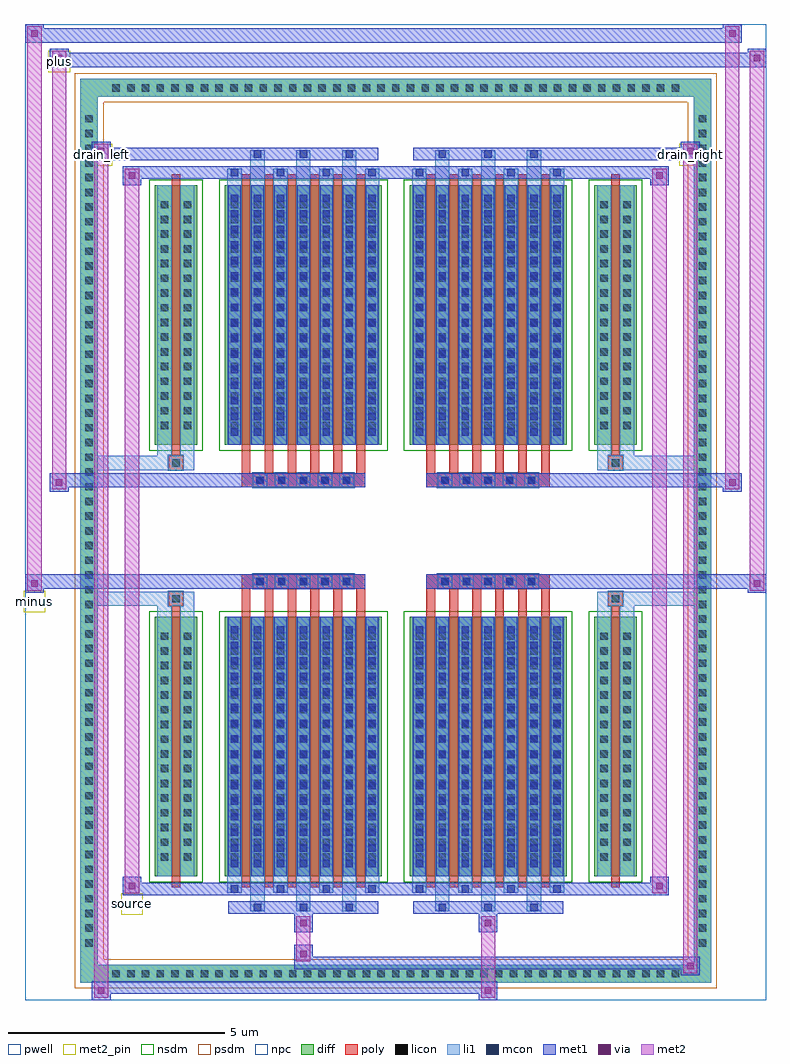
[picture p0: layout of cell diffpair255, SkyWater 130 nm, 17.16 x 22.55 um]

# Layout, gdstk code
import gdstk
lib = gdstk.Library(unit=1e-6, precision=5e-09)
def R(c, l, rs):  # rectangles x0, y0, x1, y1
    for r in rs: c.add(gdstk.rectangle(r[:2], r[2:], *l))
def A(c, l, x, y, w, h, nx, ny, dx, dy):  # array of equal rectangles
    R(c, l, [(x+i*dx, y+j*dy, x+i*dx+w, y+j*dy+h) for i in range(nx) for j in range(ny)])
def P(c, l, *ps):  # polygons
    for p in ps: c.add(gdstk.Polygon(p, *l))
pwell = (64, 44)
diff = (65, 20)
poly = (66, 20)
licon = (66, 44)
li1 = (67, 20)
mcon = (67, 44)
met1 = (68, 20)
via = (68, 44)
met2_pin = (69, 16)
met2 = (69, 20)
nsdm = (93, 44)
psdm = (94, 20)
npc = (95, 20)

diffpair255 = lib.new_cell('diffpair255')
R(diffpair255, pwell, [(-8.56,-10.84,8.56,11.71), (-5.88,-9.03,-0.01,-0.805), (0.01,-9.03,5.88,-0.805), (-5.88,0.805,-0.01,9.03), (0.01,0.805,5.88,9.03)])
A(diffpair255, diff, -6.665, -10.44, 0.41, 0.41, 39, 2, 0.34, 20.47)
A(diffpair255, diff, -7.29, -9.725, 0.41, 0.41, 1, 57, 0, 0.34)
A(diffpair255, diff, 6.88, -9.725, 0.41, 0.41, 1, 57, 0, 0.34)
R(diffpair255, diff, [(-6.665,-10.44,6.665,-10.03), (-7.29,-9.725,-6.88,9.725), (6.88,-9.725,7.29,9.725), (-5.57,-7.985,-4.59,-1.985), (-3.95,-7.985,-0.32,-1.985), (0.32,-7.985,3.95,-1.985), (4.59,-7.985,5.57,-1.985), (-5.57,1.985,-4.59,7.985), (-3.95,1.985,-0.32,7.985), (0.32,1.985,3.95,7.985), (4.59,1.985,5.57,7.985), (-6.665,10.03,6.665,10.44)])
P(diffpair255, diff, [(7.29,10.44),(-7.29,10.44),(-7.29,-10.03),(-6.88,-10.03),(-6.88,10.03),(6.88,10.03),(6.88,-10.03),(-6.88,-10.03),(-7.29,-10.03),(-7.29,-10.44),(7.29,-10.44)])
A(diffpair255, poly, -3.56, -8.235, 0.2, 6.5, 6, 2, 0.53, 9.97)
A(diffpair255, poly, 0.71, -8.235, 0.2, 6.5, 6, 2, 0.53, 9.97)
A(diffpair255, poly, -3.56, -1.735, 0.2, 0.4, 6, 2, 0.53, 3.07)
A(diffpair255, poly, 0.71, -1.735, 0.2, 0.4, 6, 2, 0.53, 3.07)
A(diffpair255, poly, -3.3, -1.335, 0.33, 0.33, 5, 2, 0.5, 2.34)
A(diffpair255, poly, 0.97, -1.335, 0.33, 0.33, 5, 2, 0.5, 2.34)
R(diffpair255, poly, [(-5.18,-8.235,-4.98,-1.735), (4.98,-8.235,5.18,-1.735), (-5.245,-1.735,-4.915,-1.405), (-5.245,-1.735,-4.915,-1.405), (4.915,-1.735,5.245,-1.405), (4.915,-1.735,5.245,-1.405), (-3.56,-1.335,-0.71,-1.005), (0.71,-1.335,3.56,-1.005), (-3.56,1.005,-0.71,1.335), (0.71,1.005,3.56,1.335), (-5.245,1.405,-4.915,1.735), (-5.245,1.405,-4.915,1.735), (4.915,1.405,5.245,1.735), (4.915,1.405,5.245,1.735), (-5.18,1.735,-4.98,8.235), (4.98,1.735,5.18,8.235)])
A(diffpair255, licon, -6.545, -10.32, 0.17, 0.17, 39, 2, 0.34, 20.47)
A(diffpair255, licon, -7.17, -9.605, 0.17, 0.17, 1, 57, 0, 0.34)
A(diffpair255, licon, 7, -9.605, 0.17, 0.17, 1, 57, 0, 0.34)
A(diffpair255, licon, -5.43, -7.62, 0.17, 0.17, 1, 16, 0, 0.34)
A(diffpair255, licon, -4.9, -7.62, 0.17, 0.17, 1, 16, 0, 0.34)
A(diffpair255, licon, -3.81, -7.62, 0.17, 0.17, 7, 16, 0.53, 0.34)
A(diffpair255, licon, 0.46, -7.62, 0.17, 0.17, 7, 16, 0.53, 0.34)
A(diffpair255, licon, 4.73, -7.62, 0.17, 0.17, 1, 16, 0, 0.34)
A(diffpair255, licon, 5.26, -7.62, 0.17, 0.17, 1, 16, 0, 0.34)
A(diffpair255, licon, -3.22, -1.255, 0.17, 0.17, 5, 2, 0.5, 2.34)
A(diffpair255, licon, 1.05, -1.255, 0.17, 0.17, 5, 2, 0.5, 2.34)
A(diffpair255, licon, -5.43, 2.35, 0.17, 0.17, 1, 16, 0, 0.34)
A(diffpair255, licon, -4.9, 2.35, 0.17, 0.17, 1, 16, 0, 0.34)
A(diffpair255, licon, -3.81, 2.35, 0.17, 0.17, 7, 16, 0.53, 0.34)
A(diffpair255, licon, 0.46, 2.35, 0.17, 0.17, 7, 16, 0.53, 0.34)
A(diffpair255, licon, 4.73, 2.35, 0.17, 0.17, 1, 16, 0, 0.34)
A(diffpair255, licon, 5.26, 2.35, 0.17, 0.17, 1, 16, 0, 0.34)
R(diffpair255, licon, [(-5.165,-1.655,-4.995,-1.485), (4.995,-1.655,5.165,-1.485), (-5.165,1.485,-4.995,1.655), (4.995,1.485,5.165,1.655)])
A(diffpair255, li1, -6.625, -10.4, 0.33, 0.33, 39, 2, 0.34, 20.47)
A(diffpair255, li1, -7.25, -9.685, 0.33, 0.33, 1, 57, 0, 0.34)
A(diffpair255, li1, 6.92, -9.685, 0.33, 0.33, 1, 57, 0, 0.34)
A(diffpair255, li1, -3.36, -8.79, 0.33, 0.805, 3, 2, 1.06, 16.775)
A(diffpair255, li1, -3.28, -8.79, 0.17, 0.17, 3, 2, 1.06, 17.41)
A(diffpair255, li1, 0.91, -8.79, 0.33, 0.805, 3, 2, 1.06, 16.775)
A(diffpair255, li1, 0.99, -8.79, 0.17, 0.17, 3, 2, 1.06, 17.41)
A(diffpair255, li1, -3.89, -8.36, 0.33, 0.375, 4, 2, 1.06, 16.345)
A(diffpair255, li1, -3.81, -8.36, 0.17, 0.17, 4, 2, 1.06, 16.55)
A(diffpair255, li1, 0.38, -8.36, 0.33, 0.375, 4, 2, 1.06, 16.345)
A(diffpair255, li1, 0.46, -8.36, 0.17, 0.17, 4, 2, 1.06, 16.55)
A(diffpair255, li1, -3.89, -7.985, 0.33, 6, 7, 2, 0.53, 9.97)
A(diffpair255, li1, 0.38, -7.985, 0.33, 6, 7, 2, 0.53, 9.97)
A(diffpair255, li1, -3.81, -7.77, 0.17, 0.17, 7, 16, 0.53, 0.36)
A(diffpair255, li1, -3.81, -7.77, 0.17, 5.57, 7, 2, 0.53, 9.97)
A(diffpair255, li1, 0.46, -7.77, 0.17, 0.17, 7, 16, 0.53, 0.36)
A(diffpair255, li1, 0.46, -7.77, 0.17, 5.57, 7, 2, 0.53, 9.97)
A(diffpair255, li1, -5.51, -7.7, 0.33, 0.33, 1, 16, 0, 0.34)
A(diffpair255, li1, -4.98, -7.7, 0.33, 0.33, 1, 16, 0, 0.34)
A(diffpair255, li1, -3.89, -7.7, 0.33, 0.33, 7, 16, 0.53, 0.34)
A(diffpair255, li1, 0.38, -7.7, 0.33, 0.33, 7, 16, 0.53, 0.34)
A(diffpair255, li1, 4.65, -7.7, 0.33, 0.33, 1, 16, 0, 0.34)
A(diffpair255, li1, 5.18, -7.7, 0.33, 0.33, 1, 16, 0, 0.34)
A(diffpair255, li1, -3.3, -1.335, 0.33, 0.33, 5, 2, 0.5, 2.34)
A(diffpair255, li1, 0.97, -1.335, 0.33, 0.33, 5, 2, 0.5, 2.34)
A(diffpair255, li1, -3.81, 2.2, 0.17, 0.17, 7, 16, 0.53, 0.36)
A(diffpair255, li1, 0.46, 2.2, 0.17, 0.17, 7, 16, 0.53, 0.36)
A(diffpair255, li1, -5.51, 2.27, 0.33, 0.33, 1, 16, 0, 0.34)
A(diffpair255, li1, -4.98, 2.27, 0.33, 0.33, 1, 16, 0, 0.34)
A(diffpair255, li1, -3.89, 2.27, 0.33, 0.33, 7, 16, 0.53, 0.34)
A(diffpair255, li1, 0.38, 2.27, 0.33, 0.33, 7, 16, 0.53, 0.34)
A(diffpair255, li1, 4.65, 2.27, 0.33, 0.33, 1, 16, 0, 0.34)
A(diffpair255, li1, 5.18, 2.27, 0.33, 0.33, 1, 16, 0, 0.34)
R(diffpair255, li1, [(-7.29,-10.44,-6.88,-10.03), (-7.29,-10.44,-6.88,-10.03), (-6.88,-10.44,6.88,-10.03), (6.88,-10.44,7.29,-10.03), (6.88,-10.44,7.29,-10.03), (-7.29,-10.03,-6.88,10.03), (6.88,-10.03,7.29,10.03), (-5.51,-7.985,-5.18,-1.985), (-4.98,-7.985,-4.65,-1.985), (4.65,-7.985,4.98,-1.985), (5.18,-7.985,5.51,-1.985), (-5.51,-1.985,-5.18,-1.405), (-4.98,-1.985,-4.65,-1.405), (4.65,-1.985,4.98,-1.405), (5.18,-1.985,5.51,-1.405), (-7.29,-1.735,-5.245,-1.405), (-5.51,-1.735,-5.245,-1.405), (-5.245,-1.735,-4.915,-1.405), (-4.915,-1.735,-4.65,-1.405), (4.65,-1.735,4.915,-1.405), (4.915,-1.735,5.245,-1.405), (4.915,-1.735,7.29,-1.405), (5.245,-1.735,5.51,-1.405), (-7.29,1.405,-5.245,1.735), (-5.51,1.405,-5.245,1.735), (-5.51,1.405,-5.18,1.985), (-5.245,1.405,-4.915,1.735), (-4.98,1.405,-4.65,1.985), (-4.915,1.405,-4.65,1.735), (4.65,1.405,4.915,1.735), (4.65,1.405,4.98,1.985), (4.915,1.405,5.245,1.735), (4.915,1.405,7.29,1.735), (5.18,1.405,5.51,1.985), (5.245,1.405,5.51,1.735), (-5.51,1.985,-5.18,7.985), (-4.98,1.985,-4.65,7.985), (4.65,1.985,4.98,7.985), (5.18,1.985,5.51,7.985), (-7.29,10.03,-6.88,10.44), (-7.29,10.03,-6.88,10.44), (-6.88,10.03,6.88,10.44), (6.88,10.03,7.29,10.44), (6.88,10.03,7.29,10.44)])
A(diffpair255, mcon, -3.28, -8.79, 0.17, 0.17, 3, 2, 1.06, 17.41)
A(diffpair255, mcon, 0.99, -8.79, 0.17, 0.17, 3, 2, 1.06, 17.41)
A(diffpair255, mcon, -3.81, -8.36, 0.17, 0.17, 4, 2, 1.06, 16.55)
A(diffpair255, mcon, 0.46, -8.36, 0.17, 0.17, 4, 2, 1.06, 16.55)
A(diffpair255, mcon, -3.81, -7.77, 0.17, 0.17, 7, 16, 0.53, 0.36)
A(diffpair255, mcon, 0.46, -7.77, 0.17, 0.17, 7, 16, 0.53, 0.36)
A(diffpair255, mcon, -3.22, -1.255, 0.17, 0.17, 5, 2, 0.5, 2.34)
A(diffpair255, mcon, 1.05, -1.255, 0.17, 0.17, 5, 2, 0.5, 2.34)
A(diffpair255, mcon, -3.81, 2.2, 0.17, 0.17, 7, 16, 0.53, 0.36)
A(diffpair255, mcon, 0.46, 2.2, 0.17, 0.17, 7, 16, 0.53, 0.36)
A(diffpair255, met1, -3.34, -8.85, 0.29, 0.29, 3, 2, 1.06, 17.41)
A(diffpair255, met1, 0.93, -8.85, 0.29, 0.29, 3, 2, 1.06, 17.41)
A(diffpair255, met1, -3.87, -8.42, 0.29, 0.29, 4, 2, 1.06, 16.55)
A(diffpair255, met1, 0.4, -8.42, 0.29, 0.29, 4, 2, 1.06, 16.55)
A(diffpair255, met1, -3.87, -7.985, 0.29, 6, 7, 2, 0.53, 9.97)
A(diffpair255, met1, 0.4, -7.985, 0.29, 6, 7, 2, 0.53, 9.97)
A(diffpair255, met1, -3.87, -7.83, 0.29, 0.29, 7, 16, 0.53, 0.36)
A(diffpair255, met1, 0.4, -7.83, 0.29, 0.29, 7, 16, 0.53, 0.36)
A(diffpair255, met1, -3.28, -1.315, 0.29, 0.29, 5, 2, 0.5, 2.34)
A(diffpair255, met1, 0.99, -1.315, 0.29, 0.29, 5, 2, 0.5, 2.34)
A(diffpair255, met1, -3.87, 2.14, 0.29, 0.29, 7, 16, 0.53, 0.36)
A(diffpair255, met1, 0.4, 2.14, 0.29, 0.29, 7, 16, 0.53, 0.36)
R(diffpair255, met1, [(-7.02,-10.84,-6.59,-10.41), (1.92,-10.84,2.35,-10.41), (-7.02,-10.7,2.35,-10.41), (6.59,-10.27,7.02,-9.84), (-2.35,-10.13,7.02,-9.84), (-2.35,-9.99,-1.92,-9.56), (-2.35,-9.28,-1.92,-8.85), (1.92,-9.28,2.35,-8.85), (-3.87,-8.85,-0.4,-8.56), (0.4,-8.85,3.87,-8.56), (-6.31,-8.42,-5.88,-7.99), (-6.31,-8.42,-3.87,-8.13), (-3.87,-8.42,-0.4,-8.13), (-0.4,-8.42,0.4,-8.13), (0.4,-8.42,3.87,-8.13), (3.87,-8.42,6.31,-8.13), (5.88,-8.42,6.31,-7.99), (-8.56,-1.435,-8.13,-1.005), (8.13,-1.435,8.56,-1.005), (-8.56,-1.335,-0.71,-1.005), (-3.56,-1.335,-0.71,-1.005), (0.71,-1.335,3.56,-1.005), (0.71,-1.335,8.56,-1.005), (-7.99,0.905,-7.56,1.335), (7.56,0.905,7.99,1.335), (-7.99,1.005,-3.56,1.335), (-3.56,1.005,-0.71,1.335), (0.71,1.005,3.56,1.335), (3.56,1.005,7.99,1.335), (-6.31,7.99,-5.88,8.42), (5.88,7.99,6.31,8.42), (-6.31,8.13,-3.87,8.42), (-3.87,8.13,-0.4,8.42), (-0.4,8.13,0.4,8.42), (0.4,8.13,3.87,8.42), (3.87,8.13,6.31,8.42), (-7.02,8.56,-6.59,8.99), (-7.02,8.56,-3.87,8.85), (-3.87,8.56,-0.4,8.85), (0.4,8.56,3.87,8.85), (3.87,8.56,7.02,8.85), (6.59,8.56,7.02,8.99), (-7.99,10.71,-7.56,11.14), (-7.99,10.71,-5.88,11.04), (-5.88,10.71,5.88,11.04), (5.88,10.71,8.56,11.04), (8.13,10.71,8.56,11.14), (-8.56,11.28,-8.13,11.71), (-8.56,11.28,-5.88,11.61), (-5.88,11.28,5.88,11.61), (5.88,11.28,7.99,11.61), (7.56,11.28,7.99,11.71)])
R(diffpair255, via, [(-6.88,-10.7,-6.73,-10.55), (2.06,-10.7,2.21,-10.55), (6.73,-10.13,6.88,-9.98), (-2.21,-9.85,-2.06,-9.7), (-2.21,-9.14,-2.06,-8.99), (2.06,-9.14,2.21,-8.99), (-6.17,-8.28,-6.02,-8.13), (6.02,-8.28,6.17,-8.13), (-8.42,-1.295,-8.27,-1.145), (8.27,-1.295,8.42,-1.145), (-7.85,1.045,-7.7,1.195), (7.7,1.045,7.85,1.195), (-6.17,8.13,-6.02,8.28), (6.02,8.13,6.17,8.28), (-6.88,8.7,-6.73,8.85), (6.73,8.7,6.88,8.85), (-7.85,10.85,-7.7,11), (8.27,10.85,8.42,11), (-8.42,11.42,-8.27,11.57), (7.7,11.42,7.85,11.57)])
R(diffpair255, met2_pin, [(-6.345,-8.87,-5.845,-8.37), (-8.595,-1.885,-8.095,-1.385), (-7.055,8.44,-6.555,8.94), (6.555,8.44,7.055,8.94), (-8.025,10.59,-7.525,11.09)])
R(diffpair255, met2, [(-6.97,-10.79,-6.64,-10.46), (-6.97,-10.79,-6.64,8.94), (1.97,-10.79,2.3,-10.46), (1.97,-10.46,2.3,-9.23), (6.64,-10.22,6.97,-9.89), (6.64,-10.22,6.97,8.94), (-2.3,-9.94,-1.97,-9.61), (-2.3,-9.61,-1.97,-9.23), (-2.3,-9.23,-1.97,-8.9), (1.97,-9.23,2.3,-8.9), (-6.26,-8.37,-5.93,-8.04), (-6.26,-8.37,-5.93,8.37), (5.93,-8.37,6.26,-8.04), (5.93,-8.37,6.26,8.37), (-8.51,-1.385,-8.18,-1.055), (-8.51,-1.385,-8.18,11.66), (8.18,-1.385,8.51,-1.055), (8.18,-1.385,8.51,11.09), (-7.94,0.955,-7.61,1.285), (-7.94,0.955,-7.61,11.09), (7.61,0.955,7.94,1.285), (7.61,0.955,7.94,11.66), (-6.26,8.04,-5.93,8.37), (5.93,8.04,6.26,8.37), (-6.97,8.61,-6.64,8.94), (6.64,8.61,6.97,8.94), (-7.94,10.76,-7.61,11.09), (8.18,10.76,8.51,11.09), (-8.51,11.33,-8.18,11.66), (7.61,11.33,7.94,11.66)])
P(diffpair255, met2, [(8.51,-1.385),(8.51,-1.385),(8.51,-1.055),(8.51,-1.055)],
  [(8.51,10.76),(8.51,10.76),(8.51,11.09),(8.51,11.09)],
  [(-8.18,-1.385),(-8.18,-1.385),(-8.18,-1.055),(-8.18,-1.055)],
  [(-8.18,11.33),(-8.18,11.33),(-8.18,11.66),(-8.18,11.66)],
  [(7.94,0.955),(7.94,0.955),(7.94,1.285),(7.94,1.285)],
  [(7.94,11.33),(7.94,11.33),(7.94,11.66),(7.94,11.66)],
  [(-7.61,0.955),(-7.61,0.955),(-7.61,1.285),(-7.61,1.285)],
  [(-7.61,10.76),(-7.61,10.76),(-7.61,11.09),(-7.61,11.09)],
  [(-6.64,-10.79),(-6.64,-10.79),(-6.64,-10.46),(-6.64,-10.46)],
  [(-6.64,8.61),(-6.64,8.61),(-6.64,8.94),(-6.64,8.94)],
  [(6.97,-10.22),(6.97,-10.22),(6.97,-9.89),(6.97,-9.89)],
  [(6.97,8.61),(6.97,8.61),(6.97,8.94),(6.97,8.94)],
  [(-5.93,-8.37),(-5.93,-8.37),(-5.93,-8.04),(-5.93,-8.04)],
  [(-5.93,8.04),(-5.93,8.04),(-5.93,8.37),(-5.93,8.37)],
  [(6.26,-8.37),(6.26,-8.37),(6.26,-8.04),(6.26,-8.04)],
  [(6.26,8.04),(6.26,8.04),(6.26,8.37),(6.26,8.37)])
R(diffpair255, nsdm, [(-5.7,-8.115,-4.46,-1.855), (-4.08,-8.115,-0.19,-1.855), (0.19,-8.115,4.08,-1.855), (4.46,-8.115,5.7,-1.855), (-5.7,1.855,-4.46,8.115), (-4.08,1.855,-0.19,8.115), (0.19,1.855,4.08,8.115), (4.46,1.855,5.7,8.115)])
P(diffpair255, psdm, [(7.42,10.57),(-7.42,10.57),(-7.42,-9.9),(-6.75,-9.9),(-6.75,9.9),(6.75,9.9),(6.75,-9.9),(-6.75,-9.9),(-7.42,-9.9),(-7.42,-10.57),(7.42,-10.57)])
A(diffpair255, npc, -3.32, -1.355, 0.37, 0.37, 5, 2, 0.5, 2.34)
A(diffpair255, npc, 0.95, -1.355, 0.37, 0.37, 5, 2, 0.5, 2.34)
R(diffpair255, npc, [(-5.265,-1.755,-4.895,-1.385), (4.895,-1.755,5.265,-1.385), (-3.32,-1.355,-2.45,-0.985), (-3.32,-1.355,-2.45,-0.985), (-2.82,-1.355,-1.95,-0.985), (-2.82,-1.355,-1.95,-0.985), (-2.32,-1.355,-1.45,-0.985), (-2.32,-1.355,-1.45,-0.985), (-1.82,-1.355,-0.95,-0.985), (-1.82,-1.355,-0.95,-0.985), (0.95,-1.355,1.82,-0.985), (0.95,-1.355,1.82,-0.985), (1.45,-1.355,2.32,-0.985), (1.45,-1.355,2.32,-0.985), (1.95,-1.355,2.82,-0.985), (1.95,-1.355,2.82,-0.985), (2.45,-1.355,3.32,-0.985), (2.45,-1.355,3.32,-0.985), (-3.32,0.985,-2.45,1.355), (-3.32,0.985,-2.45,1.355), (-2.82,0.985,-1.95,1.355), (-2.82,0.985,-1.95,1.355), (-2.32,0.985,-1.45,1.355), (-2.32,0.985,-1.45,1.355), (-1.82,0.985,-0.95,1.355), (-1.82,0.985,-0.95,1.355), (0.95,0.985,1.82,1.355), (0.95,0.985,1.82,1.355), (1.45,0.985,2.32,1.355), (1.45,0.985,2.32,1.355), (1.95,0.985,2.82,1.355), (1.95,0.985,2.82,1.355), (2.45,0.985,3.32,1.355), (2.45,0.985,3.32,1.355), (-5.265,1.385,-4.895,1.755), (4.895,1.385,5.265,1.755)])
diffpair255.add(gdstk.Label('minus', (-8.345,-1.635), layer=69, texttype=5))
diffpair255.add(gdstk.Label('drain_right', (6.805,8.69), layer=69, texttype=5))
diffpair255.add(gdstk.Label('drain_left', (-6.805,8.69), layer=69, texttype=5))
diffpair255.add(gdstk.Label('source', (-6.095,-8.62), layer=69, texttype=5))
diffpair255.add(gdstk.Label('plus', (-7.775,10.84), layer=69, texttype=5))

lib.write_gds('diffpair255.gds')
